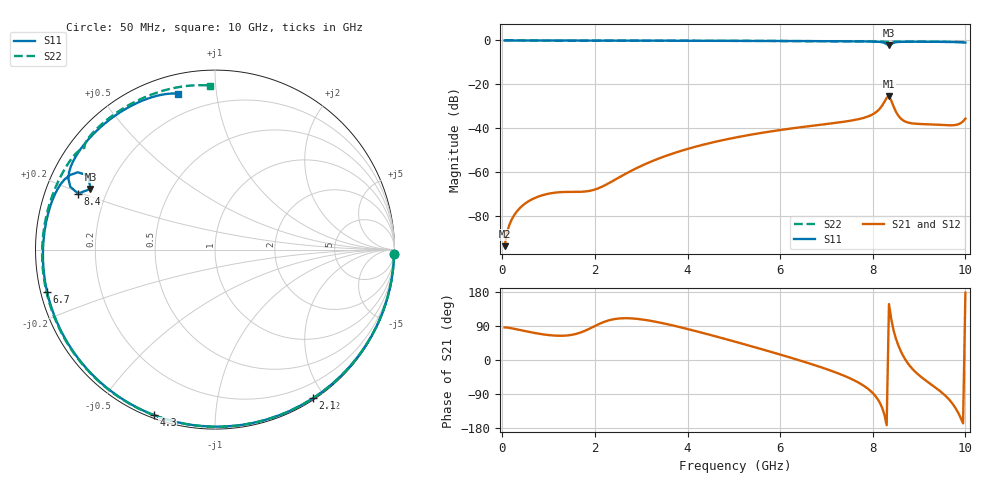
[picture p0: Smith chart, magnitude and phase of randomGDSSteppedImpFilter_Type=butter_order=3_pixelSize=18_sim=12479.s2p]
! freq	dB(S11)	phase(S11)	dB(S12)	phase(S12)
!  dB(S21)	phase(S21)	dB(S22)	phase(S22)
!S-par simulation data
#  GHz  S  DB  R 50
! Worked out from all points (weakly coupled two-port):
!   200 points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, 50 MHz to 10 GHz, reference 50 ohm
!   highest |S21| = -25.59 dB at 8.35 GHz (marker M1); lowest = -93.9 dB at 50 MHz (marker M2)
!   lowest |S11| = -2.2 dB at 8.35 GHz (marker M3), VSWR 7.77, Z = 6.78 + j11.3 ohm
!   |S11| at or under -10 dB: nowhere
!   |S22| runs from -0.8 to 0.0 dB; largest |S21 - S12| = 0
!   S11 on the Smith chart (normalised r, x): 50 MHz: 6, -81; 2.1 GHz: 0.02, -1.86; 4.3 GHz: 0.01, -0.70; 6.7 GHz: 0.02, -0.12; 8.4 GHz: 0.10, +0.19; 10 GHz: 0.09, +0.79
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0.05  -0.02 -1.4  -93.93 86.0  -93.93 86.0  -0.02 -1.5
0.25  -0.02 -6.9  -80.00 82.4  -80.00 82.4  -0.02 -7.6
0.5  -0.02 -13.8  -74.36 76.0  -74.36 76.0  -0.02 -15.1
0.85  -0.03 -23.4  -70.77 68.2  -70.77 68.2  -0.03 -25.6
1.75  -0.06 -47.5  -69.05 75.3  -69.05 75.3  -0.07 -51.8
2.1  -0.07 -56.6  -67.27 95.6  -67.27 95.6  -0.08 -61.6
2.75  -0.09 -73.1  -59.91 110.0  -59.91 110.0  -0.10 -79.3
3.4  -0.12 -89.1  -53.75 98.8  -53.75 98.8  -0.12 -96.3
4.3  -0.15 -110.4  -47.81 72.4  -47.81 72.4  -0.16 -118.7
5.05  -0.19 -127.7  -44.27 47.5  -44.27 47.5  -0.20 -136.7
5.9  -0.25 -147.1  -41.21 18.0  -41.21 18.0  -0.25 -156.8
6.7  -0.31 -165.8  -38.94 -11.8  -38.94 -11.8  -0.31 -175.9
7.9  -0.47 163.5  -34.69 -76.4  -34.69 -76.4  -0.43 153.7
8.1  -0.59 157.0  -32.25 -102.2  -32.25 -102.2  -0.47 148.3
8.25  -1.13 150.6  -28.08 -143.8  -28.08 -143.8  -0.57 144.0
8.35  -2.25 154.0  -25.59 147.5  -25.59 147.5  -0.70 142.1
8.4  -1.68 157.8  -27.45 107.3  -27.45 107.3  -0.63 141.3
8.55  -0.72 152.1  -34.31 39.1  -34.31 39.1  -0.52 136.9
8.8  -0.58 143.2  -37.68 -15.5  -37.68 -15.5  -0.53 129.5
9.75  -0.73 112.6  -38.69 -120.2  -38.69 -120.2  -0.67 100.1
9.9  -0.84 107.2  -37.76 -153.1  -37.76 -153.1  -0.73 95.1
10  -0.98 103.4  -35.69 177.3  -35.69 177.3  -0.78 91.7
